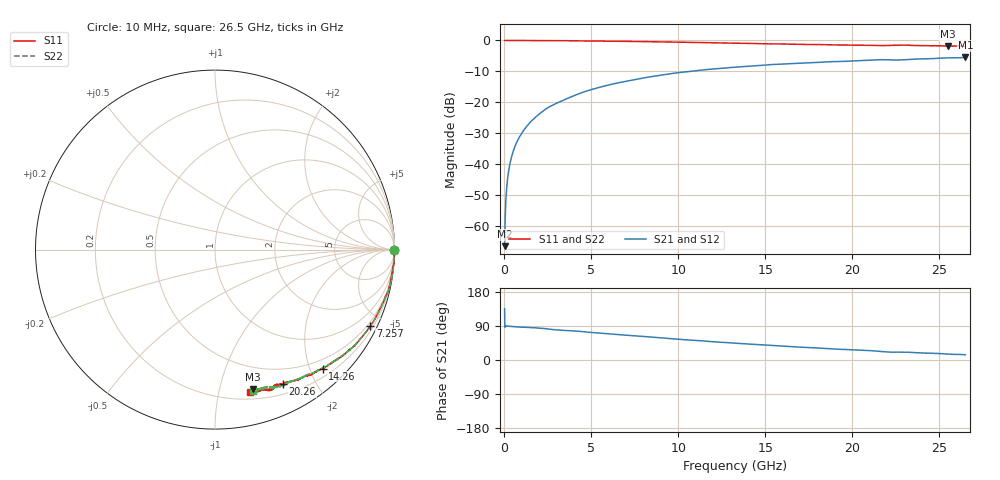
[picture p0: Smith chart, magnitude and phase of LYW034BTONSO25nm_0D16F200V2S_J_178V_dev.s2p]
!Keysight Technologies,N5222B,MY61253708,A.15.00.15
!Date: Wednesday, June 19, 2024 10:28:46
!Correction: S11(C  2-Port  )
!S21(C  2-Port  )
!S12(C  2-Port  )
!S22(C  2-Port  )
!S2P File: Measurements: S11, S21, S12, S22:
# Hz S  RI  R 50
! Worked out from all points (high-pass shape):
!   2651 points, 10 MHz to 26.5 GHz, reference 50 ohm
!   highest |S21| = -5.46 dB at 26.5 GHz (marker M1); lowest = -66.4 dB at 10 MHz (marker M2)
!   |S21| within 3 dB of the highest: 13.63345 GHz to 13.67151 GHz (38.05 MHz wide, 0.279 % of centre); 13.69 GHz to end of sweep
!   lowest |S11| = -1.9 dB at 25.5 GHz (marker M3), VSWR 9.30, Z = 14.3 - j63.4 ohm
!   |S11| at or under -10 dB: nowhere
!   |S22| runs from -1.8 to 0.0 dB; largest |S21 - S12| = 0.0066
!   S11 on the Smith chart (normalised r, x): 10 MHz: open; 7.257 GHz: 0.35, -4.27; 14.26 GHz: 0.34, -2.21; 20.26 GHz: 0.31, -1.58; 26.5 GHz: 0.26, -1.24
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1e7  0.9983 -0.00313  -0.000342 0.000338  -0.000249 0.000368  0.9984 -0.00151
6.997736e7  1 -0.00511  -1.28e-05 0.00226  2.74e-05 0.00227  0.9998 -0.00464
1.699396e8  0.9999 -0.0116  7.71e-05 0.00552  4.87e-05 0.00552  0.9998 -0.0107
2.199208e8  0.9999 -0.0147  8.94e-05 0.00709  8.68e-05 0.00713  0.9995 -0.0138
2.798981e8  1 -0.0188  0.000191 0.00907  0.000165 0.00907  0.9999 -0.0178
3.898566e8  0.9995 -0.0263  0.000357 0.0126  0.000316 0.0126  0.9995 -0.0252
5.198075e8  0.9988 -0.034  0.000526 0.0168  0.000586 0.0168  0.9989 -0.033
6.797472e8  0.9985 -0.0442  0.000933 0.022  0.000943 0.022  0.9988 -0.0431
8.796717e8  0.9979 -0.0576  0.00156 0.0282  0.00157 0.0283  0.9972 -0.0561
1.479445e9  0.991 -0.0978  0.00372 0.0478  0.00369 0.0479  0.9938 -0.0934
2.349117e9  0.9825 -0.1505  0.0097 0.0768  0.00983 0.077  0.9839 -0.1497
3.26877e9  0.9715 -0.208  0.0208 0.1034  0.0209 0.1037  0.9719 -0.2066
4.428332e9  0.9448 -0.2764  0.0367 0.1386  0.0368 0.139  0.9471 -0.2721
7.257264e9  0.8656 -0.4258  0.0979 0.2055  0.0986 0.2055  0.8684 -0.4222
8.846664e9  0.8097 -0.4973  0.1399 0.2333  0.1407 0.2334  0.8129 -0.4933
1.3255e10  0.6374 -0.6393  0.2645 0.2596  0.2661 0.2591  0.6437 -0.6356
1.426462e10  0.5995 -0.6629  0.2903 0.2569  0.292 0.2566  0.6052 -0.6574
1.767333e10  0.4671 -0.7217  0.3702 0.2347  0.3729 0.2329  0.4809 -0.7172
2.026235e10  0.3783 -0.7491  0.4213 0.2089  0.4236 0.2062  0.3992 -0.7469
2.209166e10  0.3319 -0.7577  0.4538 0.175  0.455 0.1723  0.3299 -0.7627
2.550038e10  0.2119 -0.7774  0.504 0.1396  0.505 0.1394  0.2366 -0.7795
2.65e10  0.1925 -0.7921  0.5176 0.1287  0.5165 0.125  0.21 -0.79
